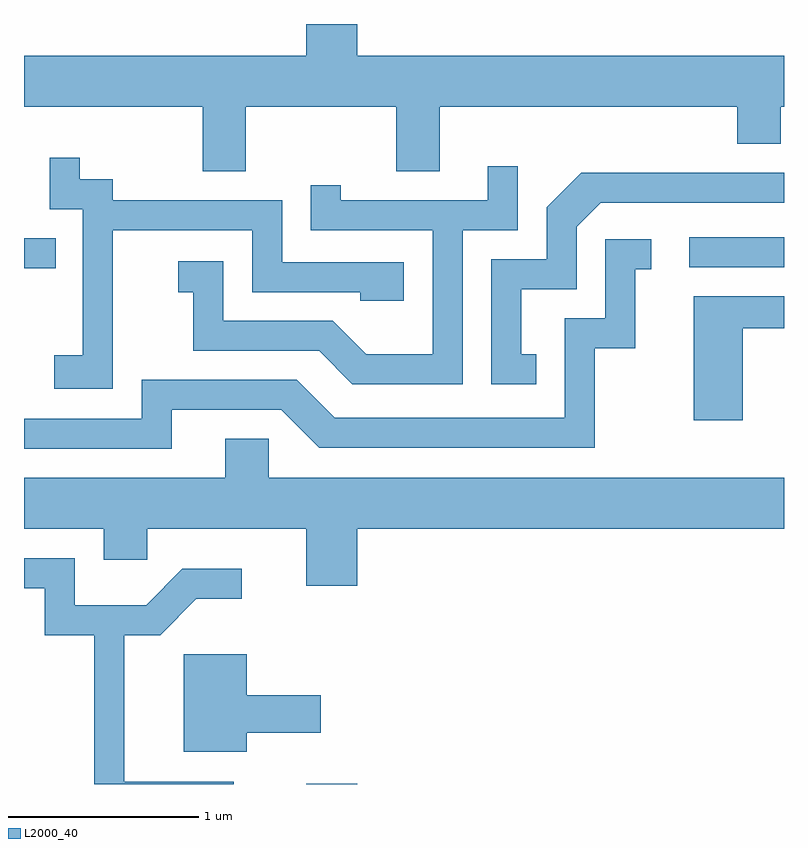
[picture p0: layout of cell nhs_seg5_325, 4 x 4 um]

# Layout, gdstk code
import gdstk
lib = gdstk.Library(unit=1e-6, precision=1e-09)
def R(c, l, rs):  # rectangles x0, y0, x1, y1
    for r in rs: c.add(gdstk.rectangle(r[:2], r[2:], *l))
def P(c, l, *ps):  # polygons
    for p in ps: c.add(gdstk.Polygon(p, *l))
L2000_40 = (2000, 40)

nhs_seg5_325 = lib.new_cell('nhs_seg5_325')
R(nhs_seg5_325, L2000_40, [(195.096,1502.072,195.364,1502.074), (193.611,1504.786,193.778,1504.944), (197.113,1504.791,197.611,1504.949)])
P(nhs_seg5_325, L2000_40, [(194.779,1505.636),(195.571,1505.636),(195.571,1505.296),(195.799,1505.296),(195.799,1505.636),(197.366,1505.636),(197.366,1505.441),(197.594,1505.441),(197.594,1505.636),(197.611,1505.636),(197.611,1505.904),(195.364,1505.904),(195.364,1506.072),(195.096,1506.072),(195.096,1505.904),(193.611,1505.904),(193.611,1505.636),(194.551,1505.636),(194.551,1505.296),(194.779,1505.296)],
  [(194.079,1504.986),(194.811,1504.986),(194.811,1504.661),(195.381,1504.661),(195.381,1504.616),(195.609,1504.616),(195.609,1504.819),(194.969,1504.819),(194.969,1505.144),(194.079,1505.144),(194.079,1505.254),(193.904,1505.254),(193.904,1505.368),(193.746,1505.368),(193.746,1505.096),(193.921,1505.096),(193.921,1504.329),(193.771,1504.329),(193.771,1504.151),(194.079,1504.151)],
  [(195.919,1504.986),(196.209,1504.986),(196.209,1505.323),(196.051,1505.323),(196.051,1505.144),(195.279,1505.144),(195.279,1505.223),(195.121,1505.223),(195.121,1504.986),(195.761,1504.986),(195.761,1504.334),(195.412,1504.334),(195.237,1504.509),(194.659,1504.509),(194.659,1504.824),(194.423,1504.824),(194.423,1504.661),(194.501,1504.661),(194.501,1504.351),(195.164,1504.351),(195.339,1504.176),(195.919,1504.176)],
  [(196.308,1504.334),(196.229,1504.334),(196.229,1504.676),(196.519,1504.676),(196.519,1505.004),(196.647,1505.131),(197.611,1505.131),(197.611,1505.289),(196.544,1505.289),(196.361,1505.107),(196.361,1504.834),(196.071,1504.834),(196.071,1504.176),(196.308,1504.176)],
  [(194.389,1504.041),(194.964,1504.041),(195.164,1503.841),(196.614,1503.841),(196.614,1504.366),(196.829,1504.366),(196.829,1504.781),(196.913,1504.781),(196.913,1504.939),(196.671,1504.939),(196.671,1504.524),(196.456,1504.524),(196.456,1503.999),(195.247,1503.999),(195.047,1504.199),(194.231,1504.199),(194.231,1503.994),(193.611,1503.994),(193.611,1503.836),(194.389,1503.836)],
  [(197.394,1504.471),(197.611,1504.471),(197.611,1504.639),(197.136,1504.639),(197.136,1503.986),(197.394,1503.986)],
  [(195.364,1503.416),(197.611,1503.416),(197.611,1503.684),(194.899,1503.684),(194.899,1503.889),(194.671,1503.889),(194.671,1503.684),(193.611,1503.684),(193.611,1503.416),(194.031,1503.416),(194.031,1503.251),(194.259,1503.251),(194.259,1503.416),(195.096,1503.416),(195.096,1503.116),(195.364,1503.116)],
  [(194.714,1502.084),(194.139,1502.084),(194.139,1502.856),(194.327,1502.856),(194.517,1503.046),(194.758,1503.046),(194.758,1503.204),(194.444,1503.204),(194.254,1503.014),(193.879,1503.014),(193.879,1503.259),(193.611,1503.259),(193.611,1503.101),(193.721,1503.101),(193.721,1502.856),(193.981,1502.856),(193.981,1502.072),(194.714,1502.072)],
  [(194.784,1502.341),(195.174,1502.341),(195.174,1502.539),(194.784,1502.539),(194.784,1502.754),(194.451,1502.754),(194.451,1502.241),(194.784,1502.241)])

lib.write_gds('nhs_seg5_325.gds')
